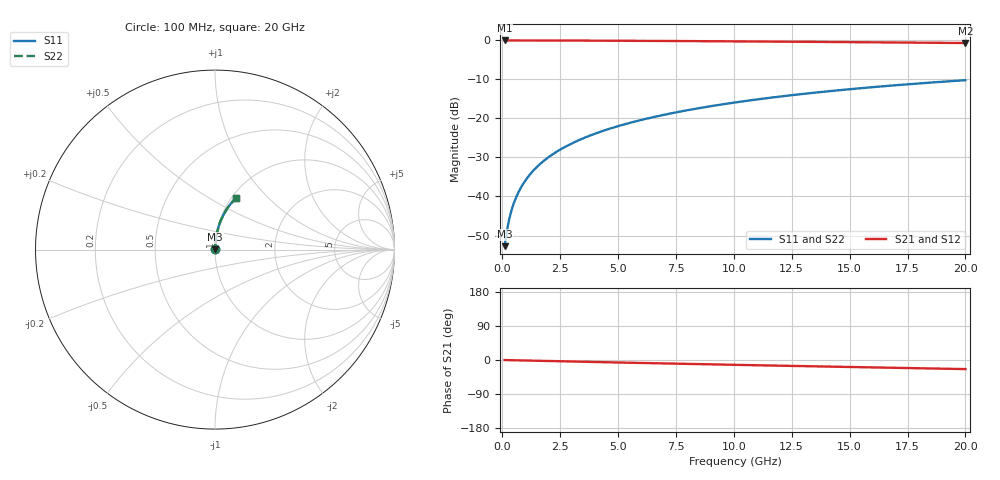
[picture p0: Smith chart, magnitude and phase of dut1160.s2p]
! Touchstone file exported from HFSS 2024.1.0
!  File:  C:/UserFiles/LocalFiles/RDL_TSV_Batchsim/temp_RDL_bottom_1160_1780056417.aedt
!  Generated:  08:09:38 PM May 29, 2026
!  Design:  RDL_bottom
!  Project:  temp_RDL_bottom_1160_1780056417
!  Setup:  Setup1
!  Solution:  Sweep
! Variables:
!  dtsv = 10.80580581um
!  hbump = 3um
!  htsv = 53.3um
!  ldown = 263.85um
!  lrdl = 100um
!  p = 40
!  p1 = 56.34um
!  rhole = 1um
!  t = 450um
!  tdown = 4.86um
!  trdl = 3.915915916um
!  wdown = 12.55um
!  wrdl = 20um
# GHz S MA R 50.000000
! Terminal data exported
! Port[1] = RDL1_T1
! Port[2] = RDL1_T2
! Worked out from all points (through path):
!   200 points, 100 MHz to 20 GHz, reference 50 ohm
!   highest |S21| = -0.01 dB at 100 MHz (marker M1); lowest = -0.7 dB at 20 GHz (marker M2)
!   group delay of S21, straight-line fit = 3.32 ps
!   lowest |S11| = -52.7 dB at 100 MHz (marker M3), VSWR 1.00, Z = 50.2 + j0.164 ohm
!   |S11| at or under -10 dB: start of sweep to end of sweep
!   |S22| runs from -52.7 to -10.2 dB; largest |S21 - S12| = 3.5e-15
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0.1  0.00231 45.1  0.9984 -0.1  0.9984 -0.1  0.00231 45.1
! Gamma 0 0 0 0
! Port Impedance 50 0 50 0
0.2  0.003656 62.8  0.9983 -0.3  0.9983 -0.3  0.003656 62.8
0.3  0.005146 70.5  0.9983 -0.4  0.9983 -0.4  0.005146 70.5
0.4  0.006677 74.7  0.9982 -0.5  0.9982 -0.5  0.006677 74.7
0.5  0.008226 77.4  0.9982 -0.7  0.9982 -0.7  0.008226 77.4
0.6  0.009785 79.1  0.9981 -0.8  0.9981 -0.8  0.009785 79.1
0.8  0.01292 81.4  0.998 -1.1  0.998 -1.1  0.01292 81.4
1.1  0.01766 83.1  0.9977 -1.5  0.9977 -1.5  0.01766 83.1
1.5  0.02399 84.2  0.9973 -2.0  0.9973 -2.0  0.02399 84.2
1.8  0.02875 84.6  0.997 -2.4  0.997 -2.4  0.02875 84.6
2.1  0.03351 84.8  0.9965 -2.8  0.9965 -2.8  0.03351 84.8
2.7  0.04304 84.9  0.9955 -3.6  0.9955 -3.6  0.04304 84.9
3.5  0.05576 84.7  0.9939 -4.7  0.9939 -4.7  0.05576 84.7
4.2  0.0669 84.3  0.9922 -5.6  0.9922 -5.6  0.0669 84.3
5  0.07965 83.7  0.99 -6.6  0.99 -6.6  0.07965 83.7
5.9  0.09402 83.0  0.9872 -7.7  0.9872 -7.7  0.09402 83.0
6.8  0.1084 82.2  0.9843 -8.8  0.9843 -8.8  0.1084 82.2
8.3  0.1324 80.8  0.979 -10.7  0.979 -10.7  0.1324 80.8
10.1  0.161 79.0  0.972 -12.8  0.972 -12.8  0.161 79.0
13.4  0.2126 75.3  0.9581 -16.7  0.9581 -16.7  0.2126 75.3
16.7  0.2622 71.7  0.9426 -20.4  0.9426 -20.4  0.2622 71.7
20  0.3093 68.0  0.9258 -24.0  0.9258 -24.0  0.3093 68.0
